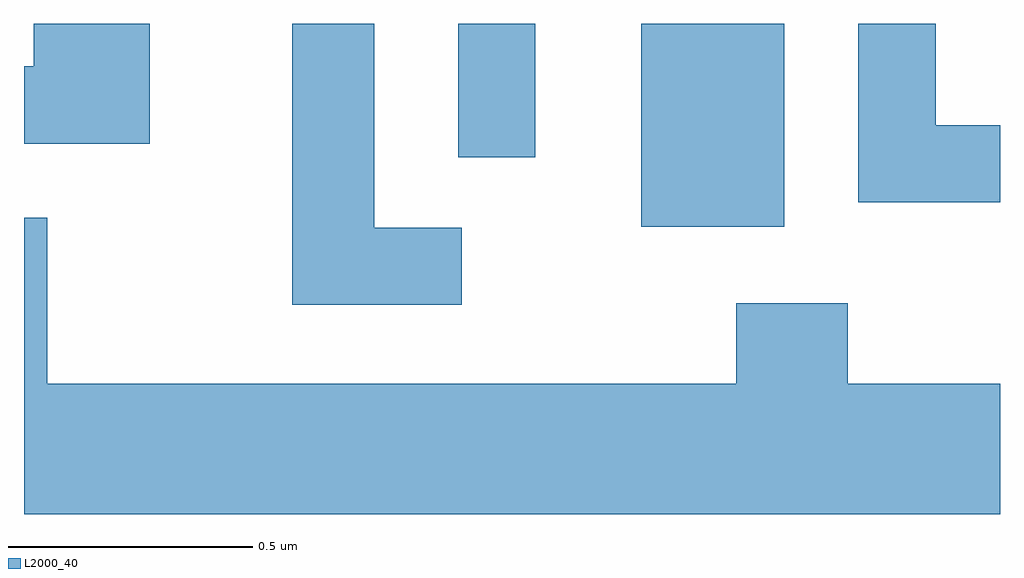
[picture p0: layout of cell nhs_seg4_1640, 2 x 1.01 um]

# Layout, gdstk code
import gdstk
lib = gdstk.Library(unit=1e-6, precision=1e-09)
def R(c, l, rs):  # rectangles x0, y0, x1, y1
    for r in rs: c.add(gdstk.rectangle(r[:2], r[2:], *l))
def P(c, l, *ps):  # polygons
    for p in ps: c.add(gdstk.Polygon(p, *l))
L2000_40 = (2000, 40)

nhs_seg4_1640 = lib.new_cell('nhs_seg4_1640')
R(nhs_seg4_1640, L2000_40, [(197.876,1388.566,198.169,1388.982), (197.501,1388.708,197.659,1388.982)])
P(nhs_seg4_1640, L2000_40, [(196.869,1388.982),(196.631,1388.982),(196.631,1388.894),(196.611,1388.894),(196.611,1388.736),(196.869,1388.736)],
  [(198.611,1388.774),(198.479,1388.774),(198.479,1388.982),(198.321,1388.982),(198.321,1388.616),(198.611,1388.616)],
  [(197.508,1388.564),(197.329,1388.564),(197.329,1388.982),(197.161,1388.982),(197.161,1388.406),(197.508,1388.406)],
  [(198.611,1388.244),(198.299,1388.244),(198.299,1388.409),(198.071,1388.409),(198.071,1388.244),(196.659,1388.244),(196.659,1388.584),(196.611,1388.584),(196.611,1387.976),(198.611,1387.976)])

lib.write_gds('nhs_seg4_1640.gds')
